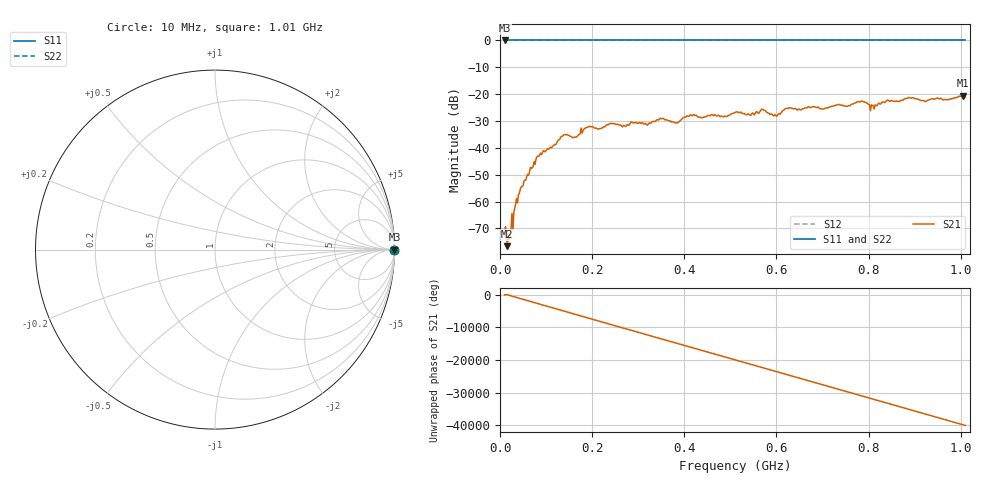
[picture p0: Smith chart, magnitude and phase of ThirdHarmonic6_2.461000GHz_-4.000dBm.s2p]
! 8/17/2025 4:27:39 AM
! C:\ANRITSUVNA\TEMP\TEMP.S2P
! CHANNEL.1
! TR.MEASUREMENT
! RAW.DATA
! RF.CORRECTION.OFF
! AVERAGING.OFF
! IF.BANDWIDTH: 5KHZ
! SWEEPTYPE:  FREQ.SWEEP(Linear)
! Reference Plane Port Info
! PORT:  PORT1  PORT2
! DISTANCE:  0  m  0  m
! TIME:  0  s  0  s
! PHASE.OFFSET:  0  deg.  0  deg.
! LOSS:  0  dB  0  dB
! REF.LOSS:  0  dB  0  dB
! REF.FREQ:  0  Hz  0  Hz
! Power Info
! POWER:  -20  dBm  -20  dBm
! EFF.POWER:  -20  dBm  -20  dBm
! SOURCE.ATTEN:  0  dB  0  dB
! TEST.ATTEN:  0  dB  0  dB
# GHZ S RI R 50.0
! FREQ.GHZ  S11RE  S11IM  S21RE  S21IM  S12RE  S12IM  S22RE  S22IM
!; PortSelection: Port_12
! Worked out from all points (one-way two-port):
!   501 points, 10 MHz to 1.01 GHz, reference 50 ohm
!   highest |S21| = -20.57 dB at 1.004 GHz (marker M1); lowest = -76.6 dB at 16 MHz (marker M2)
!   lowest |S11| = 0.0 dB at 10 MHz (marker M3)
!   |S11| at or under -10 dB: nowhere
!   |S22| runs from 0.0 to 0.0 dB; largest |S21 - S12| = 1.1
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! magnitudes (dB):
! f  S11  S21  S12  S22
! 10 MHz  0.0  -71.4  0.0  0.0
! 16 MHz  0.0  -76.6  0.0  0.0
! 20 MHz  0.0  -74.0  0.0  0.0
! 34 MHz  0.0  -60.9  0.0  0.0
! 44 MHz  0.0  -55.3  0.0  0.0
! 82 MHz  0.0  -43.1  0.0  0.0
! 136 MHz  0.0  -35.6  0.0  0.0
! 162 MHz  0.0  -35.9  0.0  0.0
! 178 MHz  0.0  -34.5  0.0  0.0
! 344 MHz  0.0  -29.6  0.0  0.0
! 384 MHz  0.0  -30.6  0.0  0.0
! 410 MHz  0.0  -28.3  0.0  0.0
! 510 MHz  0.0  -26.8  0.0  0.0
! 570 MHz  0.0  -25.7  0.0  0.0
! 598 MHz  0.0  -27.9  0.0  0.0
! 624 MHz  0.0  -25.3  0.0  0.0
! 678 MHz  0.0  -24.7  0.0  0.0
! 784 MHz  0.0  -22.6  0.0  0.0
! 808 MHz  0.0  -24.2  0.0  0.0
! 844 MHz  0.0  -22.5  0.0  0.0
! 1.004 GHz  0.0  -20.6  0.0  0.0
! 1.01 GHz  0.0  -21.2  0.0  0.0
